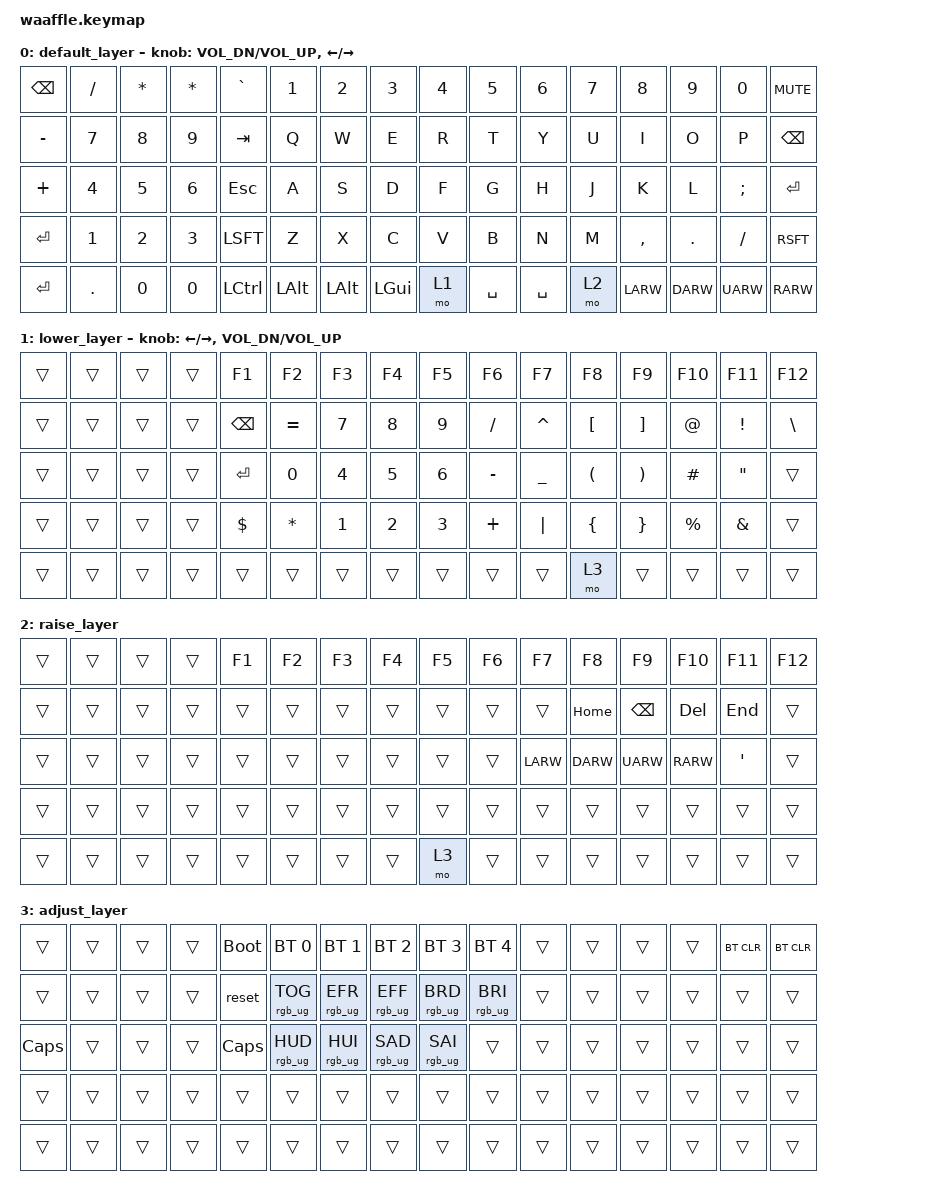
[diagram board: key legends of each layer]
/*
 * Copyright (c) 2020 dELLIKEEb
 *
 * SPDX-License-Identifier: MIT
 */

#include <behaviors.dtsi>
#include <dt-bindings/zmk/keys.h>
#include <dt-bindings/zmk/bt.h>
#include <dt-bindings/zmk/rgb.h>

// custom keycode defs for easier access
#define DEFAULT 0
#define LOWER   1
#define RAISE   2
#define ADJUST  3
#define BT0  BT_SEL 0
#define BT1  BT_SEL 1
#define BT2  BT_SEL 2
#define BT3  BT_SEL 3
#define BT4  BT_SEL 4
// / {
//     behaviors {
//         hm: homerow_mods {
//             compatible = "zmk,behavior-hold-tap";
//             label = "homerow mods";
//             #binding-cells = <2>;
//             tapping_term_ms = <225>;
//             flavor = "tap-preferred";
//             bindings = <&kp>, <&kp>;
//         };
//     };
// };

/ {
    keymap {
        compatible = "zmk,keymap";

        default_layer {
            bindings = <
                &kp BKSP    &kp SLASH   &kp STAR    &kp STAR    &kp GRAV   &kp N1      &kp N2      &kp N3      &kp N4    &kp N5      &kp N6      &kp N7      &kp N8      &kp N9      &kp N0      &kp C_MUTE
                &kp MINUS   &kp NUM_7   &kp NUM_8   &kp NUM_9   &kp TAB    &kp Q       &kp W       &kp E       &kp R     &kp T       &kp Y       &kp U       &kp I       &kp O       &kp P       &kp BKSP
                &kp PLUS    &kp NUM_4   &kp NUM_5   &kp NUM_6   &kp ESC    &kp A       &kp S       &kp D       &kp F     &kp G       &kp H       &kp J       &kp K       &kp L       &kp SCLN    &kp RET
                &kp RET     &kp NUM_1   &kp NUM_2   &kp NUM_3   &kp LSFT   &kp Z       &kp X       &kp C       &kp V     &kp B       &kp N       &kp M       &kp CMMA    &kp DOT     &kp FSLH    &kp RSFT
                &kp RET     &kp DOT     &kp NUM_0   &kp NUM_0   &kp LCTL   &kp LALT    &kp LALT    &kp LGUI    &mo 1     &kp SPC     &kp SPC     &mo 2       &kp LARW    &kp DARW    &kp UARW    &kp RARW   
            >;
            sensor-bindings = <&inc_dec_kp C_VOL_DN C_VOL_UP &inc_dec_kp LEFT RIGHT>;
        }; 

        lower_layer {
            bindings = <
                &trans      &trans      &trans      &trans      &kp F1      &kp F2      &kp F3      &kp F4      &kp F5      &kp F6      &kp F7      &kp F8      &kp F9      &kp F10     &kp F11     &kp F12  
                &trans      &trans      &trans      &trans      &kp BKSP    &kp EQUAL   &kp NUM_7   &kp NUM_8   &kp NUM_9   &kp FSLH    &kp CARET   &kp LBKT    &kp RBKT    &kp AT      &kp EXCL    &kp BSLH
                &trans      &trans      &trans      &trans      &kp RET     &kp NUM_0   &kp NUM_4   &kp NUM_5   &kp NUM_6   &kp MINUS   &kp UNDER   &kp LPAR    &kp RPAR    &kp HASH    &kp DQT     &trans
                &trans      &trans      &trans      &trans      &kp DOLLAR  &kp STAR    &kp NUM_1   &kp NUM_2   &kp NUM_3   &kp PLUS    &kp PIPE    &kp LBRC    &kp RBRC    &kp PRCNT   &kp AMPS    &trans
                &trans      &trans      &trans      &trans      &trans      &trans      &trans      &trans      &trans      &trans      &trans      &mo 3       &trans      &trans      &trans      &trans
            >;
            sensor-bindings = <&inc_dec_kp LEFT RIGHT &inc_dec_kp C_VOL_DN C_VOL_UP>;
        };

        raise_layer {
            bindings = <
                &trans      &trans      &trans      &trans      &kp F1      &kp F2      &kp F3      &kp F4      &kp F5      &kp F6      &kp F7      &kp F8      &kp F9      &kp F10     &kp F11     &kp F12  
                &trans      &trans      &trans      &trans      &trans      &trans      &trans      &trans      &trans      &trans      &trans      &kp HOME    &kp BKSP    &kp DEL     &kp END     &trans
                &trans      &trans      &trans      &trans      &trans      &trans      &trans      &trans      &trans      &trans      &kp LARW    &kp DARW    &kp UARW    &kp RARW    &kp APOS    &trans  
                &trans      &trans      &trans      &trans      &trans      &trans      &trans      &trans      &trans      &trans      &trans      &trans      &trans      &trans      &trans      &trans  
                &trans      &trans      &trans      &trans      &trans      &trans      &trans      &trans      &mo 3       &trans      &trans      &trans      &trans      &trans      &trans      &trans
            >;
        };
        
        adjust_layer {
            bindings = <
                &trans      &trans      &trans      &trans      &bootloader &bt BT_SEL 0     &bt BT_SEL 1    &bt BT_SEL 2     &bt BT_SEL 3      &bt BT_SEL 4    &trans      &trans      &trans      &trans      &bt BT_CLR  &bt BT_CLR
                &trans      &trans      &trans      &trans      &reset      &rgb_ug RGB_TOG  &rgb_ug RGB_EFR &rgb_ug RGB_EFF  &rgb_ug RGB_BRD   &rgb_ug RGB_BRI &trans      &trans      &trans      &trans      &trans      &trans
                &kp CAPS    &trans      &trans      &trans      &kp CAPS    &rgb_ug RGB_HUD  &rgb_ug RGB_HUI &rgb_ug RGB_SAD  &rgb_ug RGB_SAI   &trans          &trans      &trans      &trans      &trans      &trans      &trans
                &trans      &trans      &trans      &trans      &trans      &trans           &trans          &trans           &trans            &trans          &trans      &trans      &trans      &trans      &trans      &trans
                &trans      &trans      &trans      &trans      &trans      &trans           &trans          &trans           &trans            &trans          &trans      &trans      &trans      &trans      &trans      &trans
            >;
        };

    };
};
